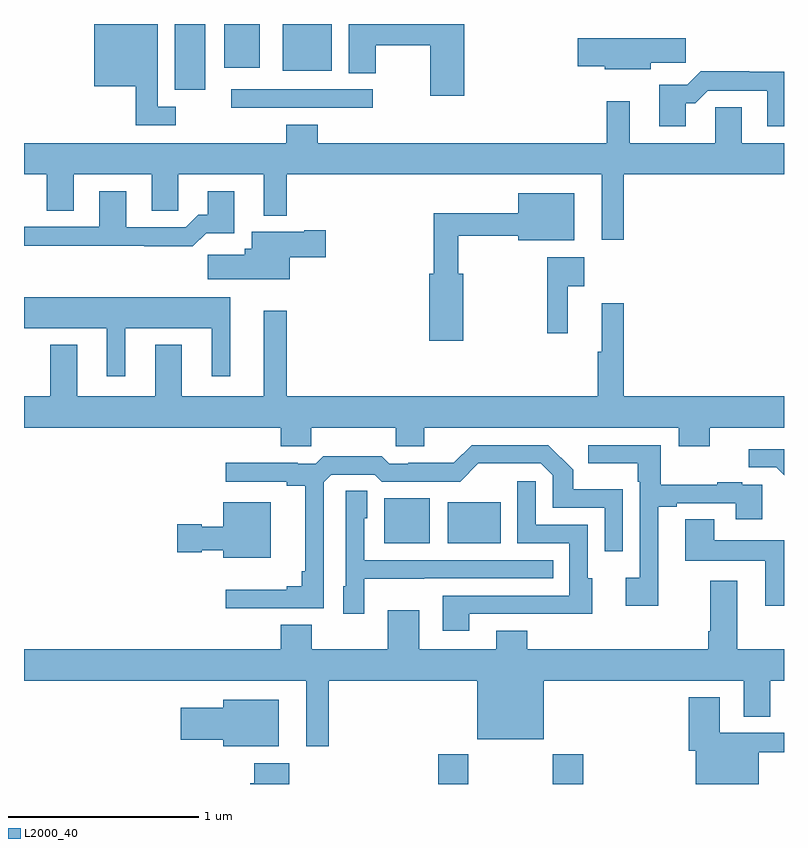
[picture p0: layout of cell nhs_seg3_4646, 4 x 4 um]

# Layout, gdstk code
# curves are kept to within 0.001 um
import gdstk
lib = gdstk.Library(unit=1e-6, precision=1e-09)
def R(c, l, rs):  # rectangles x0, y0, x1, y1
    for r in rs: c.add(gdstk.rectangle(r[:2], r[2:], *l))
def P(c, l, *ps):  # polygons
    for p in ps: c.add(gdstk.Polygon(p, *l))
L2000_40 = (2000, 40)

nhs_seg3_4646 = lib.new_cell('nhs_seg3_4646')
R(nhs_seg3_4646, L2000_40, [(363.179,672.4,363.339,672.556), (363.784,672.4,363.944,672.556), (362.897,673.667,363.136,673.903), (363.23,673.667,363.508,673.882), (362.091,675.96,362.836,676.056), (361.793,676.055,361.954,676.4), (362.363,676.154,362.62,676.4), (362.054,676.169,362.242,676.4)])
P(nhs_seg3_4646, L2000_40, [(363.317,676.4),(362.708,676.4),(362.708,676.141),(362.85,676.141),(362.85,676.288),(363.139,676.288),(363.139,676.023),(363.317,676.023)],
  [(361.798,675.964),(361.705,675.964),(361.705,676.313),(361.704,676.313),(361.704,676.4),(361.37,676.4),(361.37,676.073),(361.588,676.073),(361.588,675.867),(361.798,675.867)],
  [(364.299,676.195),(364.483,676.195),(364.483,676.324),(363.915,676.324),(363.915,676.177),(364.056,676.177),(364.056,676.163),(364.299,676.163)],
  [(364.483,675.983),(364.532,675.983),(364.599,676.05),(364.913,676.05),(364.913,675.861),(365,675.861),(365,676.148),(364.817,676.148),(364.817,676.151),(364.562,676.151),(364.492,676.081),(364.343,676.081),(364.343,675.861),(364.483,675.861)],
  [(361,675.608),(361.121,675.608),(361.121,675.418),(361.261,675.418),(361.261,675.608),(361.673,675.608),(361.673,675.418),(361.812,675.418),(361.812,675.608),(362.261,675.608),(362.261,675.392),(362.383,675.392),(362.383,675.608),(364.04,675.608),(364.04,675.264),(364.157,675.264),(364.157,675.608),(365,675.608),(365,675.772),(364.777,675.772),(364.777,675.962),(364.638,675.962),(364.638,675.772),(364.189,675.772),(364.189,675.994),(364.068,675.994),(364.068,675.772),(362.546,675.772),(362.546,675.871),(362.381,675.871),(362.381,675.772),(361,675.772)],
  [(361.958,675.299),(362.107,675.299),(362.107,675.52),(361.967,675.52),(361.967,675.397),(361.918,675.397),(361.851,675.33),(361.537,675.33),(361.537,675.52),(361.397,675.52),(361.397,675.333),(361,675.333),(361,675.232),(361.633,675.232),(361.633,675.23),(361.889,675.23)],
  [(363.312,675.085),(363.286,675.085),(363.286,675.286),(363.602,675.286),(363.602,675.263),(363.895,675.263),(363.895,675.508),(363.602,675.508),(363.602,675.404),(363.157,675.404),(363.157,675.085),(363.134,675.085),(363.134,674.733),(363.312,674.733)],
  [(362.398,675.173),(362.587,675.173),(362.587,675.315),(362.474,675.315),(362.474,675.307),(362.198,675.307),(362.198,675.217),(362.162,675.217),(362.162,675.185),(361.968,675.185),(361.968,675.056),(362.398,675.056)],
  [(363.863,675.02),(363.949,675.02),(363.949,675.172),(363.753,675.172),(363.753,674.772),(363.863,674.772)],
  [(361.534,674.798),(361.988,674.798),(361.988,674.547),(362.086,674.547),(362.086,674.962),(361,674.962),(361,674.798),(361.436,674.798),(361.436,674.547),(361.534,674.547)],
  [(364.609,674.276),(365,674.276),(365,674.44),(364.157,674.44),(364.157,674.929),(364.04,674.929),(364.04,674.676),(364.021,674.676),(364.021,674.44),(362.383,674.44),(362.383,674.89),(362.261,674.89),(362.261,674.44),(361.831,674.44),(361.831,674.713),(361.691,674.713),(361.691,674.44),(361.279,674.44),(361.279,674.713),(361.139,674.713),(361.139,674.44),(361,674.44),(361,674.276),(362.351,674.276),(362.351,674.178),(362.511,674.178),(362.511,674.276),(362.956,674.276),(362.956,674.178),(363.106,674.178),(363.106,674.276),(364.445,674.276),(364.445,674.177),(364.609,674.177)],
  [(362.577,673.989),(362.616,674.028),(362.847,674.028),(362.883,673.992),(363.297,673.992),(363.392,674.087),(363.72,674.088),(363.783,674.025),(363.783,673.854),(364.056,673.854),(364.056,673.626),(364.152,673.626),(364.152,673.951),(363.891,673.951),(363.891,674.054),(363.76,674.184),(363.357,674.184),(363.263,674.09),(363.022,674.09),(363.022,674.085),(362.922,674.085),(362.883,674.125),(362.575,674.125),(362.535,674.085),(362.441,674.085),(362.441,674.09),(362.061,674.09),(362.061,673.992),(362.384,673.992),(362.384,673.97),(362.48,673.97),(362.48,673.519),(362.461,673.519),(362.461,673.442),(362.384,673.442),(362.384,673.423),(362.061,673.423),(362.061,673.326),(362.577,673.326)],
  [(364.339,673.86),(364.435,673.86),(364.435,673.878),(364.745,673.878),(364.745,673.794),(364.885,673.794),(364.885,673.974),(364.781,673.974),(364.781,673.987),(364.649,673.987),(364.649,673.976),(364.351,673.976),(364.351,674.184),(363.969,674.184),(363.969,674.087),(364.23,674.087),(364.23,673.991),(364.242,673.991),(364.242,673.486),(364.167,673.486),(364.167,673.338),(364.339,673.338)],
  [(365,674.161),(364.815,674.161),(364.815,674.067),(364.959,674.067),(365,674.026)],
  [(363.343,673.296),(363.773,673.296),(363.773,673.295),(363.991,673.295),(363.991,673.482),(363.966,673.482),(363.966,673.764),(363.693,673.764),(363.693,673.993),(363.597,673.993),(363.597,673.668),(363.87,673.668),(363.87,673.392),(363.203,673.392),(363.203,673.206),(363.343,673.206)],
  [(362.79,673.481),(363.107,673.481),(363.107,673.482),(363.785,673.482),(363.785,673.578),(362.79,673.578),(362.79,673.8),(362.806,673.8),(362.806,673.943),(362.694,673.943),(362.694,673.44),(362.681,673.44),(362.681,673.296),(362.79,673.296)],
  [(362.299,673.882),(362.048,673.882),(362.048,673.753),(361.935,673.753),(361.935,673.766),(361.806,673.766),(361.806,673.619),(361.935,673.619),(361.935,673.631),(362.048,673.631),(362.048,673.592),(362.299,673.592)],
  [(365,673.684),(364.633,673.684),(364.633,673.793),(364.481,673.793),(364.481,673.574),(364.901,673.574),(364.901,673.338),(365,673.338)],
  [(362.603,672.944),(363.386,672.944),(363.386,672.635),(363.736,672.635),(363.736,672.944),(364.787,672.944),(364.787,672.754),(364.927,672.754),(364.927,672.944),(365,672.944),(365,673.108),(364.753,673.108),(364.753,673.471),(364.613,673.471),(364.613,673.204),(364.601,673.204),(364.601,673.108),(363.649,673.108),(363.649,673.207),(363.485,673.207),(363.485,673.108),(363.079,673.108),(363.079,673.315),(362.915,673.315),(362.915,673.108),(362.515,673.108),(362.515,673.237),(362.351,673.237),(362.351,673.108),(361,673.108),(361,672.944),(362.486,672.944),(362.486,672.6),(362.603,672.6)],
  [(364.867,672.568),(365,672.568),(365,672.669),(364.663,672.669),(364.663,672.856),(364.499,672.856),(364.499,672.576),(364.535,672.576),(364.535,672.4),(364.867,672.4)],
  [(362.341,672.844),(362.048,672.844),(362.048,672.802),(361.824,672.802),(361.824,672.632),(362.048,672.632),(362.048,672.599),(362.341,672.599)],
  [(362.395,672.508),(362.211,672.508),(362.211,672.404),(362.191,672.404),(362.191,672.4),(362.395,672.4)])

lib.write_gds('nhs_seg3_4646.gds')
